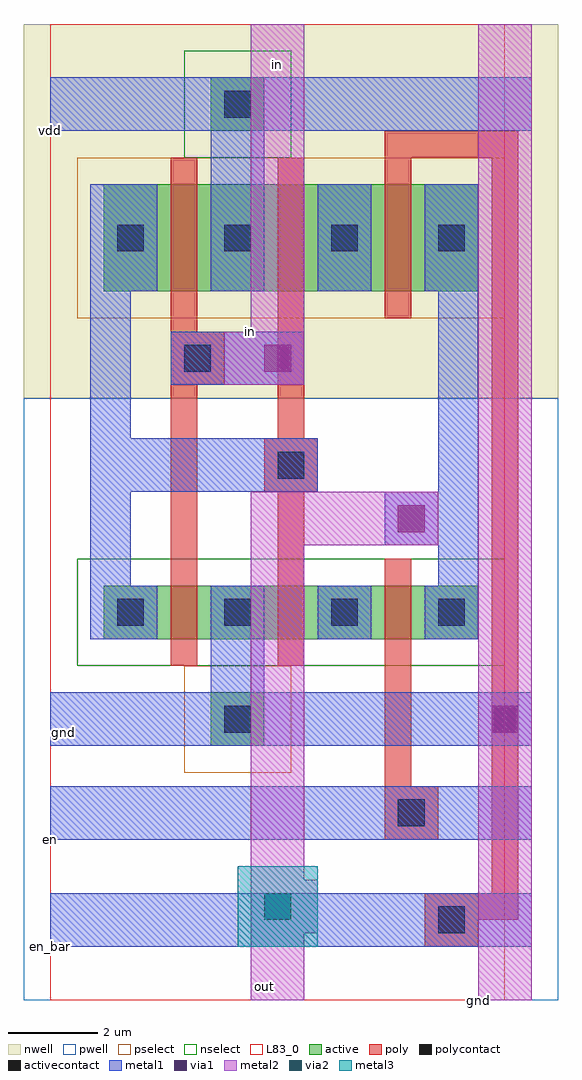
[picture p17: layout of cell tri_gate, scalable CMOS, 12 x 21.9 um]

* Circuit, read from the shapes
.subckt tri_gate en en_bar gnd in out vdd
M1 gnd in n1 gnd nfet w=1.2u l=0.6u
M2 n2 n1 gnd gnd nfet w=1.2u l=0.6u
M3 out en n2 gnd nfet w=1.2u l=0.6u
M4 vdd in n1 vdd pfet w=2.4u l=0.6u
M5 n3 n1 vdd vdd pfet w=2.4u l=0.6u
M6 out en_bar n3 vdd pfet w=2.4u l=0.6u
.ends

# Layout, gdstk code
import gdstk
lib = gdstk.Library(unit=1e-6, precision=1e-09)
def R(c, l, rs):  # rectangles x0, y0, x1, y1
    for r in rs: c.add(gdstk.rectangle(r[:2], r[2:], *l))
def A(c, l, x, y, w, h, nx, ny, dx, dy):  # array of equal rectangles
    R(c, l, [(x+i*dx, y+j*dy, x+i*dx+w, y+j*dy+h) for i in range(nx) for j in range(ny)])
pwell = (41, 0)
nwell = (42, 0)
active = (43, 0)
pselect = (44, 0)
nselect = (45, 0)
poly = (46, 0)
polycontact = (47, 0)
activecontact = (48, 0)
metal1 = (49, 0)
via1 = (50, 0)
metal2 = (51, 0)
via2 = (61, 0)
metal3 = (62, 0)
L83_0 = (83, 0)

tri_gate = lib.new_cell('tri_gate')
R(tri_gate, pwell, [(-0.6,0,11.4,13.5)])
R(tri_gate, nwell, [(-0.6,13.5,11.4,21.9)])
R(tri_gate, active, [(3.6,5.7,4.8,6.9), (1.2,8.1,9.6,9.3), (1.2,15.9,9.6,18.3), (3.6,19.5,4.8,20.7)])
R(tri_gate, pselect, [(3,5.1,5.4,7.5), (0.6,15.3,10.2,18.9)])
R(tri_gate, nselect, [(0.6,7.5,10.2,9.9), (3,18.9,5.4,21.3)])
R(tri_gate, poly, [(8.4,1.2,9.6,1.8), (8.4,1.8,10.5,2.4), (9.9,2.4,10.5,18.9), (7.5,3.6,8.7,4.8), (7.5,4.8,8.1,9.9), (2.7,7.5,3.3,13.8), (5.1,7.5,5.7,11.4), (4.8,11.4,6,12.6), (5.1,12.6,5.7,18.9), (2.7,13.8,3.9,15), (2.7,15,3.3,18.9), (7.5,15.3,8.1,18.9), (7.5,18.9,10.5,19.5)])
R(tri_gate, polycontact, [(8.7,1.5,9.3,2.1), (7.8,3.9,8.4,4.5), (5.1,11.7,5.7,12.3), (3,14.1,3.6,14.7)])
A(tri_gate, activecontact, 1.5, 8.4, 0.6, 0.6, 4, 2, 2.4, 8.4)
R(tri_gate, activecontact, [(3.9,6,4.5,6.6), (3.9,19.8,4.5,20.4)])
R(tri_gate, metal1, [(0,1.2,10.8,2.4), (0,1.2,10.8,2.4), (0,3.6,10.8,4.8), (0,3.6,10.8,4.8), (0,5.7,10.8,6.9), (0,5.7,10.8,6.9), (3.6,6.9,4.8,9.3), (0.9,8.1,2.4,9.3), (6,8.1,7.2,9.3), (8.4,8.1,9.6,9.3), (0.9,9.3,1.8,11.4), (8.7,9.3,9.6,10.2), (7.5,10.2,9.6,11.4), (0.9,11.4,6,12.6), (8.7,11.4,9.6,15.9), (0.9,12.6,1.8,15.9), (2.7,13.8,5.7,15), (0.9,15.9,2.4,18.3), (3.6,15.9,4.8,19.5), (6,15.9,7.2,18.3), (8.4,15.9,9.6,18.3), (0,19.5,10.8,20.7), (0,19.5,10.8,20.7)])
R(tri_gate, via1, [(9.9,6,10.5,6.6), (7.8,10.5,8.4,11.1), (4.8,14.1,5.4,14.7)])
R(tri_gate, metal2, [(4.5,0,5.7,1.5), (4.5,0,5.7,1.5), (9.6,0,10.8,21.9), (9.6,0,10.8,21.9), (4.5,1.5,6,2.7), (4.5,2.7,5.7,10.2), (4.5,10.2,8.7,11.4), (3.9,13.8,5.7,15), (4.5,15,5.7,21.9), (4.5,15,5.7,21.9)])
R(tri_gate, via2, [(4.8,1.8,5.4,2.4)])
R(tri_gate, metal3, [(4.2,1.2,6,3)])
R(tri_gate, L83_0, [(0,0,10.2,21.9)])
tri_gate.add(gdstk.Label('gnd', (9.6,0), layer=51, texttype=0))
tri_gate.add(gdstk.Label('vdd', (0,19.5), layer=49, texttype=0))
tri_gate.add(gdstk.Label('en', (0,3.6), layer=49, texttype=0))
tri_gate.add(gdstk.Label('en_bar', (0,1.2), layer=49, texttype=0))
tri_gate.add(gdstk.Label('gnd', (0.3,6), layer=49, texttype=0))
tri_gate.add(gdstk.Label('out', (4.8,0.3), layer=51, texttype=0))
tri_gate.add(gdstk.Label('in', (5.1,21), layer=51, texttype=0))
tri_gate.add(gdstk.Label('en', (0,3.6), layer=49, texttype=0))
tri_gate.add(gdstk.Label('vdd', (0,19.5), layer=49, texttype=0))
tri_gate.add(gdstk.Label('gnd', (9.6,0), layer=51, texttype=0))
tri_gate.add(gdstk.Label('gnd', (0,5.7), layer=49, texttype=0))
tri_gate.add(gdstk.Label('in', (4.5,15), layer=51, texttype=0))
tri_gate.add(gdstk.Label('en_bar', (0,1.2), layer=49, texttype=0))
tri_gate.add(gdstk.Label('out', (4.5,0), layer=51, texttype=0))

lib.write_gds('tri_gate.gds')
